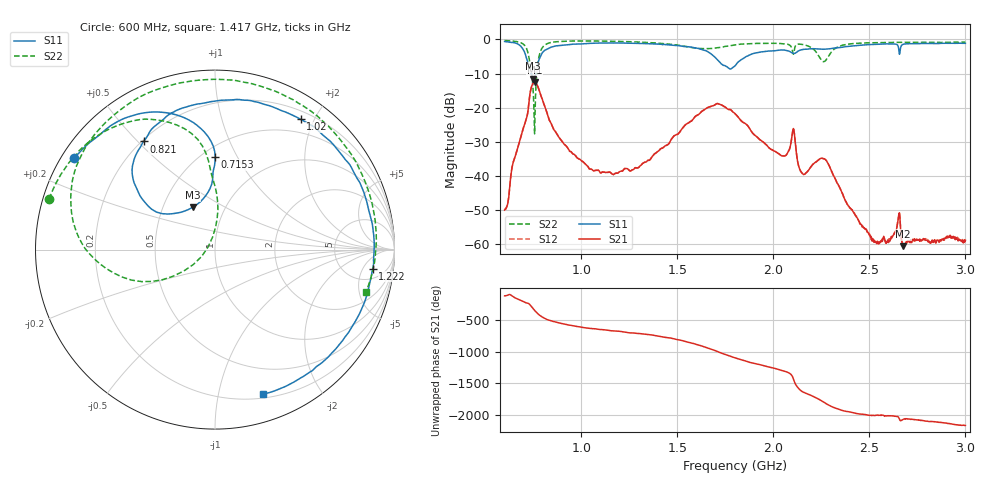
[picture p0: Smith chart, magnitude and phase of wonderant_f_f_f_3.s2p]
#  HZ  S  RI  R  50.00
! Rohde & Schwarz ZVB8 2Ports - Version 2.81 - 1145.1010k08 SN: 100113
! Date: 2016-05-17 22:38:05
! Measurements: S11 S21 S12 S22
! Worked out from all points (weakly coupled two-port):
!   1000 points, 600 MHz to 3 GHz, reference 50 ohm
!   highest |S21| = -12.54 dB at 756.2 MHz (marker M1); lowest = -60.6 dB at 2.676 GHz (marker M2)
!   lowest |S11| = -11.5 dB at 748.9 MHz (marker M3), VSWR 1.73, Z = 35.2 + j17.9 ohm
!   |S11| at or under -10 dB: 737.8 MHz to 761.7 MHz (23.96 MHz wide, 3.2 % of centre)
!   |S22| runs from -27.7 to -0.3 dB; largest |S21 - S12| = 0.0036
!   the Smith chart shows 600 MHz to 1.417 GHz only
!   S11 on the Smith chart (normalised r, x): 600 MHz: 0.04, +0.30; 715.3 MHz: 0.58, +0.82; 821 MHz: 0.21, +0.52; 1.02 GHz: 0.31, +1.81; 1.222 GHz: 8, -8; 1.417 GHz: 0.24, -1.36
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6e8  -0.7839 0.5083  -0.00174 -0.00265  -0.0017 -0.00271  -0.925 0.281
7.153153e8  0.00112 0.5174  -0.0394 0.0601  -0.0404 0.0597  -0.2125 0.694
7.489489e8  -0.1237 0.2364  0.1907 0.1262  0.1901 0.1276  0.0118 0.1728
7.561562e8  -0.1914 0.2076  0.2336 0.0337  0.2333 0.0361  -0.0392 0.0132
8.21021e8  -0.3981 0.6025  -0.0604 -0.0586  -0.0602 -0.0589  -0.802 0.3233
1.001201e9  0.3994 0.7638  -0.00348 0.0162  -0.00364 0.0163  -0.1965 0.9284
1.02042e9  0.4769 0.726  -0.000634 0.015  -0.000684 0.015  -0.12 0.9406
1.222222e9  0.8787 -0.1063  0.0109 0.00628  0.0109 0.00635  0.6598 0.6568
1.4e9  0.3497 -0.78  0.0184 -0.0139  0.0185 -0.0139  0.8688 -0.1565
1.416817e9  0.2665 -0.8043  0.0174 -0.0185  0.0175 -0.0185  0.8405 -0.239
1.618619e9  -0.5966 -0.4099  -0.0832 0.00703  -0.0832 0.0067  0.1245 -0.7235
1.801201e9  -0.4106 -0.0392  0.0757 -0.0296  0.0758 -0.0294  -0.573 -0.6058
1.902102e9  -0.5361 0.3299  -0.012 -0.0379  -0.0117 -0.038  -0.853 -0.1958
2.027027e9  0.023 0.6949  -0.0197 0.00808  -0.0197 0.008  -0.7867 0.3894
2.103904e9  0.4031 0.4806  0.0486 0.00949  0.0485 0.00921  -0.4224 0.4362
2.144745e9  0.5751 0.4074  -0.0114 -0.000143  -0.0114 -0.000223  -0.4607 0.714
2.2e9  0.7275 0.0797  -0.00326 0.0137  -0.00346 0.0137  -0.1492 0.7374
2.274474e9  0.6478 -0.3207  0.0158 -0.00595  0.0161 -0.0056  -0.1702 0.4723
2.409009e9  0.2109 -0.7761  -0.00297 -0.00121  -0.00299 -0.0012  0.191 0.8454
2.601201e9  -0.5998 -0.6186  -0.000931 0.000537  -0.00103 0.000624  0.7952 0.4285
2.675676e9  -0.7142 -0.4585  -1.74e-05 0.000937  -7.58e-05 0.00102  0.8894 0.1766
3e9  -0.6533 0.5868  0.00114 -6.4e-05  0.00117 -9.03e-05  0.538 -0.7384
